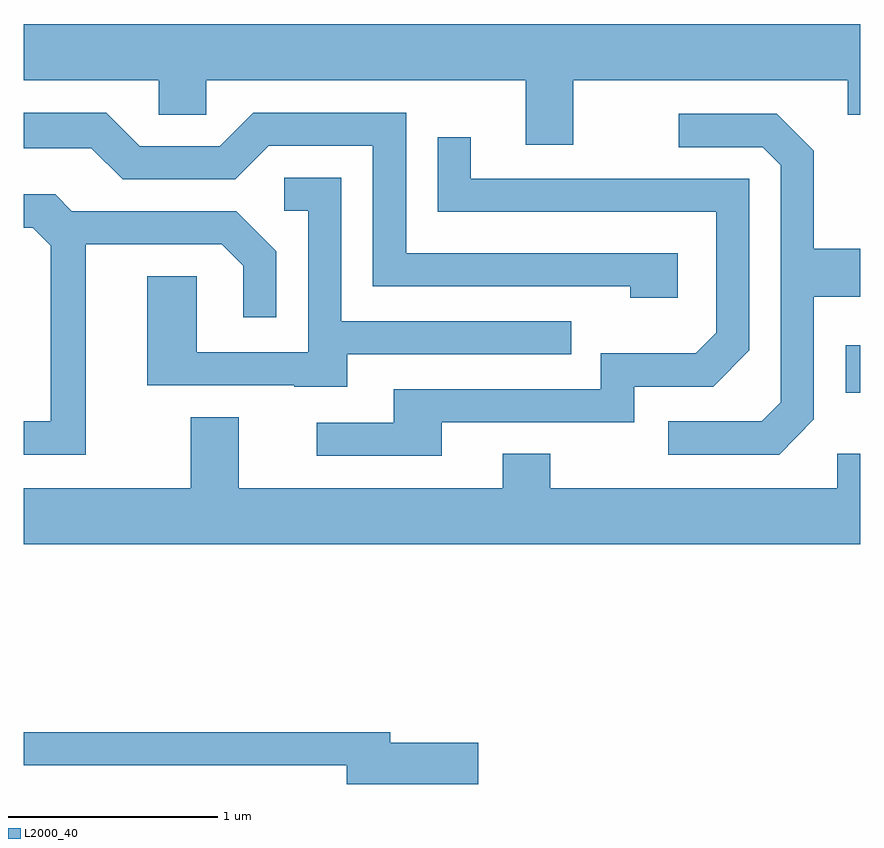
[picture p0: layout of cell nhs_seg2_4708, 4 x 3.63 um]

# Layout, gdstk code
import gdstk
lib = gdstk.Library(unit=1e-6, precision=1e-09)
def R(c, l, rs):  # rectangles x0, y0, x1, y1
    for r in rs: c.add(gdstk.rectangle(r[:2], r[2:], *l))
def P(c, l, *ps):  # polygons
    for p in ps: c.add(gdstk.Polygon(p, *l))
L2000_40 = (2000, 40)

nhs_seg2_4708 = lib.new_cell('nhs_seg2_4708')
R(nhs_seg2_4708, L2000_40, [(327.541,1055.701,327.611,1055.929)])
P(nhs_seg2_4708, L2000_40, [(326.239,1057.196),(327.551,1057.196),(327.551,1057.031),(327.611,1057.031),(327.611,1057.464),(323.611,1057.464),(323.611,1057.196),(324.256,1057.196),(324.256,1057.031),(324.484,1057.031),(324.484,1057.196),(326.011,1057.196),(326.011,1056.886),(326.239,1056.886)],
  [(326.739,1056.369),(325.439,1056.369),(325.439,1057.039),(324.709,1057.039),(324.549,1056.879),(324.167,1056.879),(324.007,1057.039),(323.611,1057.039),(323.611,1056.871),(323.934,1056.871),(324.084,1056.721),(324.622,1056.721),(324.782,1056.881),(325.281,1056.881),(325.281,1056.211),(326.511,1056.211),(326.511,1056.156),(326.739,1056.156)],
  [(327.389,1055.574),(327.389,1056.161),(327.611,1056.161),(327.611,1056.389),(327.389,1056.389),(327.389,1056.857),(327.212,1057.034),(326.743,1057.034),(326.743,1056.876),(327.144,1056.876),(327.231,1056.789),(327.231,1055.657),(327.139,1055.564),(326.693,1055.564),(326.693,1055.406),(327.222,1055.406)],
  [(325.609,1055.561),(326.529,1055.561),(326.529,1055.731),(326.907,1055.731),(327.079,1055.904),(327.079,1056.724),(325.749,1056.724),(325.749,1056.923),(325.591,1056.923),(325.591,1056.566),(326.921,1056.566),(326.921,1055.987),(326.824,1055.889),(326.371,1055.889),(326.371,1055.719),(325.381,1055.719),(325.381,1055.559),(325.013,1055.559),(325.013,1055.401),(325.609,1055.401)],
  [(325.159,1055.886),(326.228,1055.886),(326.228,1056.044),(325.129,1056.044),(325.129,1056.729),(324.858,1056.729),(324.858,1056.571),(324.971,1056.571),(324.971,1055.894),(324.439,1055.894),(324.439,1056.259),(324.201,1056.259),(324.201,1055.736),(324.905,1055.736),(324.905,1055.731),(325.159,1055.731)],
  [(323.909,1056.411),(324.559,1056.411),(324.661,1056.309),(324.661,1056.063),(324.819,1056.063),(324.819,1056.377),(324.627,1056.569),(323.842,1056.569),(323.762,1056.649),(323.611,1056.649),(323.611,1056.491),(323.654,1056.491),(323.741,1056.404),(323.741,1055.564),(323.611,1055.564),(323.611,1055.406),(323.909,1055.406)],
  [(327.611,1055.409),(327.501,1055.409),(327.501,1055.244),(326.129,1055.244),(326.129,1055.409),(325.901,1055.409),(325.901,1055.244),(324.639,1055.244),(324.639,1055.584),(324.411,1055.584),(324.411,1055.244),(323.611,1055.244),(323.611,1054.976),(327.611,1054.976)],
  [(325.784,1054.029),(325.364,1054.029),(325.364,1054.079),(323.611,1054.079),(323.611,1053.921),(325.156,1053.921),(325.156,1053.831),(325.784,1053.831)])

lib.write_gds('nhs_seg2_4708.gds')
